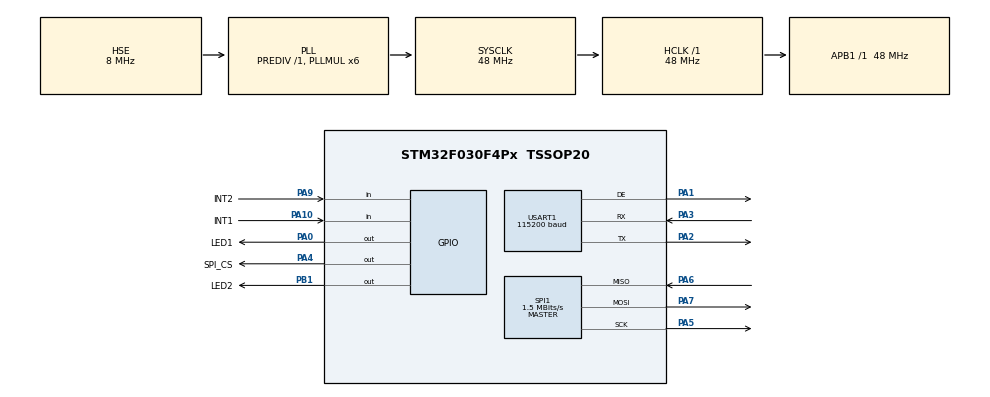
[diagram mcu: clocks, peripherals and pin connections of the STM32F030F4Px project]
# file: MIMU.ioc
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Mcu.Family=STM32F0
Mcu.Name=STM32F030F4Px
Mcu.Package=TSSOP20
NVIC.USART1_IRQn=true\:0\:0\:false\:false\:true\:true
PA0.GPIO_Label=LED1
PA0.Signal=GPIO_Output
PA1.Mode=Hardware Flow Control (RS485)
PA1.Signal=USART1_DE
PA10.GPIO_Label=INT1
PA10.Signal=GPIO_Input
PA13.Mode=Serial_Wire
PA13.Signal=SYS_SWDIO
PA14.Mode=Serial_Wire
PA14.Signal=SYS_SWCLK
PA2.Mode=Asynchronous
PA2.Signal=USART1_TX
PA3.Mode=Asynchronous
PA3.Signal=USART1_RX
PA4.GPIO_Label=SPI_CS
PA4.Signal=GPIO_Output
PA5.Mode=Full_Duplex_Master
PA5.Signal=SPI1_SCK
PA6.Mode=Full_Duplex_Master
PA6.Signal=SPI1_MISO
PA7.Mode=Full_Duplex_Master
PA7.Signal=SPI1_MOSI
PA9.GPIO_Label=INT2
PA9.Signal=GPIO_Input
PB1.GPIO_Label=LED2
PB1.Signal=GPIO_Output
PF0-OSC_IN.Mode=HSE-External-Oscillator
PF0-OSC_IN.Signal=RCC_OSC_IN
PF1-OSC_OUT.Mode=HSE-External-Oscillator
PF1-OSC_OUT.Signal=RCC_OSC_OUT
ProjectManager.HeapSize=0x000
ProjectManager.StackSize=0x400
ProjectManager.TargetToolchain=TrueSTUDIO
RCC.AHBFreq_Value=48000000
RCC.APB1Freq_Value=48000000
RCC.APB1TimFreq_Value=48000000
RCC.HCLKFreq_Value=48000000
RCC.PLLMUL=RCC_PLL_MUL6
RCC.PLLSourceVirtual=RCC_PLLSOURCE_HSE
RCC.SYSCLKFreq_VALUE=48000000
RCC.SYSCLKSource=RCC_SYSCLKSOURCE_PLLCLK
RCC.Usart1ClockSelection=RCC_USART1CLKSOURCE_SYSCLK
SPI1.BaudRatePrescaler=SPI_BAUDRATEPRESCALER_32
SPI1.CLKPhase=SPI_PHASE_2EDGE
SPI1.CLKPolarity=SPI_POLARITY_HIGH
SPI1.CalculateBaudRate=1.5 MBits/s
SPI1.DataSize=SPI_DATASIZE_8BIT
SPI1.Direction=SPI_DIRECTION_2LINES
SPI1.Mode=SPI_MODE_MASTER
SPI1.VirtualType=VM_MASTER
USART1.BaudRate=115200
USART1.DMADisableonRxErrorParam=ADVFEATURE_DMA_DISABLEONRXERROR
USART1.OverSampling=UART_OVERSAMPLING_8
USART1.OverrunDisableParam=ADVFEATURE_OVERRUN_DISABLE
USART1.UART_DEAssertionTime=4
USART1.UART_DEDeassertionTime=4
USART1.VirtualMode-Asynchronous=VM_ASYNC
USART1.VirtualMode-Hardware\ Flow\ Control\ (RS485)=VM_ASYNC
board=IMU

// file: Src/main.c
/* USER CODE BEGIN Header */
/**
  ******************************************************************************
  * @file           : main.c
  * @brief          : Main program body
  ******************************************************************************
  ** This notice applies to any and all portions of this file
  * that are not between comment pairs USER CODE BEGIN and
  * USER CODE END. Other portions of this file, whether
  * inserted by the user or by software development tools
  * are owned by their respective copyright owners.
  *
  * COPYRIGHT(c) 2019 STMicroelectronics
  *
  * Redistribution and use in source and binary forms, with or without modification,
  * are permitted provided that the following conditions are met:
  *   1. Redistributions of source code must retain the above copyright notice,
  *      this list of conditions and the following disclaimer.
  *   2. Redistributions in binary form must reproduce the above copyright notice,
  *      this list of conditions and the following disclaimer in the documentation
  *      and/or other materials provided with the distribution.
  *   3. Neither the name of STMicroelectronics nor the names of its contributors
  *      may be used to endorse or promote products derived from this software
  *      without specific prior written permission.
  *
  * THIS SOFTWARE IS PROVIDED BY THE COPYRIGHT HOLDERS AND CONTRIBUTORS "AS IS"
  * AND ANY EXPRESS OR IMPLIED WARRANTIES, INCLUDING, BUT NOT LIMITED TO, THE
  * IMPLIED WARRANTIES OF MERCHANTABILITY AND FITNESS FOR A PARTICULAR PURPOSE ARE
  * DISCLAIMED. IN NO EVENT SHALL THE COPYRIGHT HOLDER OR CONTRIBUTORS BE LIABLE
  * FOR ANY DIRECT, INDIRECT, INCIDENTAL, SPECIAL, EXEMPLARY, OR CONSEQUENTIAL
  * DAMAGES (INCLUDING, BUT NOT LIMITED TO, PROCUREMENT OF SUBSTITUTE GOODS OR
  * SERVICES; LOSS OF USE, DATA, OR PROFITS; OR BUSINESS INTERRUPTION) HOWEVER
  * CAUSED AND ON ANY THEORY OF LIABILITY, WHETHER IN CONTRACT, STRICT LIABILITY,
  * OR TORT (INCLUDING NEGLIGENCE OR OTHERWISE) ARISING IN ANY WAY OUT OF THE USE
  * OF THIS SOFTWARE, EVEN IF ADVISED OF THE POSSIBILITY OF SUCH DAMAGE.
  *
  ******************************************************************************
  */
/* USER CODE END Header */

#include "main.h"

/* USER CODE BEGIN Includes */

#include <string.h>
#include "LIS3DSH.h"
/* USER CODE END Includes */

/* USER CODE BEGIN PM */
#define SPI1CSLOW                HAL_GPIO_WritePin(SPI_CS_GPIO_Port,SPI_CS_Pin,GPIO_PIN_RESET)
#define SPI1CSHIGH               HAL_GPIO_WritePin(SPI_CS_GPIO_Port,SPI_CS_Pin,GPIO_PIN_SET)

uint8_t transmitBuffer[16];
uint8_t transmitBufLen;

char traTemp[64];
char recTemp[64];
/* USER CODE END PM */

SPI_HandleTypeDef hspi1;

UART_HandleTypeDef huart1;

void SystemClock_Config(void);
static void MX_GPIO_Init(void);
static void MX_SPI1_Init(void);
static void MX_USART1_UART_Init(void);
/* USER CODE BEGIN PFP */
uint8_t LIS3DSH_HAL_ReadReg8(uint8_t reg);
uint16_t LIS3DSH_HAL_ReadReg16(uint8_t reg);
uint8_t LIS3DSH_HAL_WriteReg8(uint8_t reg,uint8_t val);
uint8_t LIS3DSH_HAL_ReadTemp(void);
/* USER CODE END PFP */

int main(void)
{

  /* MCU Configuration--------------------------------------------------------*/

  /* Reset of all peripherals, Initializes the Flash interface and the Systick. */
  HAL_Init();

  /* Configure the system clock */
  SystemClock_Config();

  /* Initialize all configured peripherals */
  MX_GPIO_Init();
  MX_SPI1_Init();
  MX_USART1_UART_Init();
  /* USER CODE BEGIN 2 */

  SPI1CSHIGH;

  HAL_Delay(500);

  LIS3DSH_HAL_WriteReg8(LIS3DSH_REG_CTRL4,LIS3DSH_ALL_AXIS_EN|LIS3DSH_ODR_3_125);

  LIS3DSH_HAL_WriteReg8(LIS3DSH_REG_CTRL5,LIS3DSH_AAFLTR50Hz|LIS3DSH_2G|LIS3DSH_STNORMAL|LIS3DSH_SPI4WIRE);

  LIS3DSH_HAL_WriteReg8(LIS3DSH_REG_OFFX,0);
  LIS3DSH_HAL_WriteReg8(LIS3DSH_REG_OFFY,0);
  LIS3DSH_HAL_WriteReg8(LIS3DSH_REG_OFFZ,0);

  /* USER CODE END 2 */

  /* Infinite loop */
  /* USER CODE BEGIN WHILE */

  HAL_Delay(500);

  int16_t x,y,z;

  while (1)
  {
      HAL_Delay(100);
      HAL_GPIO_WritePin(LED1_GPIO_Port, LED1_Pin, GPIO_PIN_RESET);
      HAL_GPIO_WritePin(LED2_GPIO_Port, LED2_Pin, GPIO_PIN_SET);

      HAL_Delay(100);
      HAL_GPIO_WritePin(LED1_GPIO_Port, LED1_Pin, GPIO_PIN_SET);
      HAL_GPIO_WritePin(LED2_GPIO_Port, LED2_Pin, GPIO_PIN_RESET);

      // @div4  3 axis 16bit read takes 96 uS
      // @div8  3 axis ... 104 uS
      // @div16 3 axis ... 114 uS
      // @div32 3 axis ... 134 uS

      x = LIS3DSH_HAL_ReadReg16(LIS3DSH_REG_OUTXL);
      y = LIS3DSH_HAL_ReadReg16(LIS3DSH_REG_OUTYL);
      z = LIS3DSH_HAL_ReadReg16(LIS3DSH_REG_OUTZL);

      /*x = ( x / 16777.0 ) * 980.665 ;
      y = ( y / 16777.0 ) * 980.665 ;
      z = ( z / 16777.0 ) * 980.665 ;*/

      //double xangle = asin(x/980.665)*180.0/3.14;
      //double yangle = asin(y/980.665)*180.0/3.14;

      sprintf((char*)traTemp,"#X%5d #Y%5d #Z%5d #T%6lu\r\n",x,y,z,HAL_GetTick());
      //sprintf((char*)traTemp,"X:%d Y: %d Z: %d XAngle: %f YAngle: %f \r\n\r\n",(int16_t)x,(int16_t)y,(int16_t)z,xangle,yangle);

      HAL_UART_Transmit(&huart1,(uint8_t*)traTemp,strlen((char*)traTemp),5000);
    /* USER CODE END WHILE */

  }
}

void SystemClock_Config(void)
{
  RCC_OscInitTypeDef RCC_OscInitStruct = {0};
  RCC_ClkInitTypeDef RCC_ClkInitStruct = {0};
  RCC_PeriphCLKInitTypeDef PeriphClkInit = {0};

  /**Initializes the CPU, AHB and APB busses clocks
  */
  RCC_OscInitStruct.OscillatorType = RCC_OSCILLATORTYPE_HSE;
  RCC_OscInitStruct.HSEState = RCC_HSE_ON;
  RCC_OscInitStruct.PLL.PLLState = RCC_PLL_ON;
  RCC_OscInitStruct.PLL.PLLSource = RCC_PLLSOURCE_HSE;
  RCC_OscInitStruct.PLL.PLLMUL = RCC_PLL_MUL6;
  RCC_OscInitStruct.PLL.PREDIV = RCC_PREDIV_DIV1;
  if (HAL_RCC_OscConfig(&RCC_OscInitStruct) != HAL_OK)
  {
    Error_Handler();
  }
  /**Initializes the CPU, AHB and APB busses clocks
  */
  RCC_ClkInitStruct.ClockType = RCC_CLOCKTYPE_HCLK|RCC_CLOCKTYPE_SYSCLK
                              |RCC_CLOCKTYPE_PCLK1;
  RCC_ClkInitStruct.SYSCLKSource = RCC_SYSCLKSOURCE_PLLCLK;
  RCC_ClkInitStruct.AHBCLKDivider = RCC_SYSCLK_DIV1;
  RCC_ClkInitStruct.APB1CLKDivider = RCC_HCLK_DIV1;

  if (HAL_RCC_ClockConfig(&RCC_ClkInitStruct, FLASH_LATENCY_1) != HAL_OK)
  {
    Error_Handler();
  }
  PeriphClkInit.PeriphClockSelection = RCC_PERIPHCLK_USART1;
  PeriphClkInit.Usart1ClockSelection = RCC_USART1CLKSOURCE_SYSCLK;
  if (HAL_RCCEx_PeriphCLKConfig(&PeriphClkInit) != HAL_OK)
  {
    Error_Handler();
  }
}

static void MX_SPI1_Init(void)
{

  /* SPI1 parameter configuration*/
  hspi1.Instance = SPI1;
  hspi1.Init.Mode = SPI_MODE_MASTER;
  hspi1.Init.Direction = SPI_DIRECTION_2LINES;
  hspi1.Init.DataSize = SPI_DATASIZE_8BIT;
  hspi1.Init.CLKPolarity = SPI_POLARITY_HIGH;
  hspi1.Init.CLKPhase = SPI_PHASE_2EDGE;
  hspi1.Init.NSS = SPI_NSS_SOFT;
  hspi1.Init.BaudRatePrescaler = SPI_BAUDRATEPRESCALER_32;
  hspi1.Init.FirstBit = SPI_FIRSTBIT_MSB;
  hspi1.Init.TIMode = SPI_TIMODE_DISABLE;
  hspi1.Init.CRCCalculation = SPI_CRCCALCULATION_DISABLE;
  hspi1.Init.CRCPolynomial = 7;
  hspi1.Init.CRCLength = SPI_CRC_LENGTH_DATASIZE;
  hspi1.Init.NSSPMode = SPI_NSS_PULSE_DISABLE;
  if (HAL_SPI_Init(&hspi1) != HAL_OK)
  {
    Error_Handler();
  }

}

static void MX_USART1_UART_Init(void)
{

  huart1.Instance = USART1;
  huart1.Init.BaudRate = 115200;
  huart1.Init.WordLength = UART_WORDLENGTH_8B;
  huart1.Init.StopBits = UART_STOPBITS_1;
  huart1.Init.Parity = UART_PARITY_NONE;
  huart1.Init.Mode = UART_MODE_TX_RX;
  huart1.Init.HwFlowCtl = UART_HWCONTROL_NONE;
  huart1.Init.OverSampling = UART_OVERSAMPLING_8;
  huart1.Init.OneBitSampling = UART_ONE_BIT_SAMPLE_DISABLE;
  huart1.AdvancedInit.AdvFeatureInit = UART_ADVFEATURE_RXOVERRUNDISABLE_INIT|UART_ADVFEATURE_DMADISABLEONERROR_INIT;
  huart1.AdvancedInit.OverrunDisable = UART_ADVFEATURE_OVERRUN_DISABLE;
  huart1.AdvancedInit.DMADisableonRxError = UART_ADVFEATURE_DMA_DISABLEONRXERROR;
  if (HAL_RS485Ex_Init(&huart1, UART_DE_POLARITY_HIGH, 4, 4) != HAL_OK)
  {
    Error_Handler();
  }

}

static void MX_GPIO_Init(void)
{
  GPIO_InitTypeDef GPIO_InitStruct = {0};

  /* GPIO Ports Clock Enable */
  __HAL_RCC_GPIOF_CLK_ENABLE();
  __HAL_RCC_GPIOA_CLK_ENABLE();
  __HAL_RCC_GPIOB_CLK_ENABLE();

  /*Configure GPIO pin Output Level */
  HAL_GPIO_WritePin(GPIOA, LED1_Pin|SPI_CS_Pin, GPIO_PIN_RESET);

  /*Configure GPIO pin Output Level */
  HAL_GPIO_WritePin(LED2_GPIO_Port, LED2_Pin, GPIO_PIN_RESET);

  /*Configure GPIO pins : LED1_Pin SPI_CS_Pin */
  GPIO_InitStruct.Pin = LED1_Pin|SPI_CS_Pin;
  GPIO_InitStruct.Mode = GPIO_MODE_OUTPUT_PP;
  GPIO_InitStruct.Pull = GPIO_NOPULL;
  GPIO_InitStruct.Speed = GPIO_SPEED_FREQ_LOW;
  HAL_GPIO_Init(GPIOA, &GPIO_InitStruct);

  /*Configure GPIO pin : LED2_Pin */
  GPIO_InitStruct.Pin = LED2_Pin;
  GPIO_InitStruct.Mode = GPIO_MODE_OUTPUT_PP;
  GPIO_InitStruct.Pull = GPIO_NOPULL;
  GPIO_InitStruct.Speed = GPIO_SPEED_FREQ_LOW;
  HAL_GPIO_Init(LED2_GPIO_Port, &GPIO_InitStruct);

  /*Configure GPIO pins : INT2_Pin INT1_Pin */
  GPIO_InitStruct.Pin = INT2_Pin|INT1_Pin;
  GPIO_InitStruct.Mode = GPIO_MODE_INPUT;
  GPIO_InitStruct.Pull = GPIO_NOPULL;
  HAL_GPIO_Init(GPIOA, &GPIO_InitStruct);

}

/* USER CODE BEGIN 4 */
/*
 * @about: LIS3DSH Read 8 bit data from register
 */
 uint8_t LIS3DSH_HAL_ReadReg8(uint8_t reg){
    transmitBuffer[0] = 0x80 | reg;
    transmitBufLen = 1;
    SPI1CSLOW;

    HAL_SPI_Transmit(&hspi1,transmitBuffer,transmitBufLen,5000);
    while(HAL_SPI_GetState(&hspi1)== HAL_SPI_STATE_BUSY_TX) {;}

    HAL_SPI_Receive(&hspi1,transmitBuffer,transmitBufLen,5000);
    while(HAL_SPI_GetState(&hspi1)== HAL_SPI_STATE_BUSY_RX){;}

    SPI1CSHIGH;

    return(transmitBuffer[0]);
}

 /*
 * @about: LIS3DSH Read 8 bit data from register
 */
 uint16_t LIS3DSH_HAL_ReadReg16(uint8_t reg){
    transmitBuffer[0] = 0x80 | reg;
    static uint8_t r1,r2;
    SPI1CSLOW;

    HAL_SPI_Transmit(&hspi1,transmitBuffer,1,5000);
    while(HAL_SPI_GetState(&hspi1)== HAL_SPI_STATE_BUSY_TX) {;}

    HAL_SPI_Receive(&hspi1,&r1,1,5000);
    while(HAL_SPI_GetState(&hspi1)== HAL_SPI_STATE_BUSY_RX){;}

    HAL_SPI_Receive(&hspi1,&r2,1,5000);
    while(HAL_SPI_GetState(&hspi1)== HAL_SPI_STATE_BUSY_RX){;}

    SPI1CSHIGH;

    return(r1|(r2<<8));
}

/*
 * @about: LIS3DSH Read 8 bit data from register
 */
uint8_t LIS3DSH_HAL_WriteReg8(uint8_t reg,uint8_t val){
    transmitBuffer[0] = ( ~0x80 & reg );
    transmitBuffer[1] = ( val );
    transmitBufLen = 1;
    SPI1CSLOW;
    HAL_SPI_Transmit(&hspi1,transmitBuffer,transmitBufLen,5000);
    while(HAL_SPI_GetState(&hspi1)== HAL_SPI_STATE_BUSY_TX) {;}
    transmitBuffer[0] = transmitBuffer[1];
    HAL_SPI_Transmit(&hspi1,transmitBuffer,transmitBufLen,5000);
    while(HAL_SPI_GetState(&hspi1)== HAL_SPI_STATE_BUSY_TX) {;}
    SPI1CSHIGH;

    return(transmitBuffer[0]);
}

/*
 * @about: Read 12Bit Temperature value
 */
uint8_t LIS3DSH_HAL_ReadTemp(void){
    return(LIS3DSH_HAL_ReadReg8(LIS3DSH_REG_OUTT));
}
/* USER CODE END 4 */

void Error_Handler(void)
{
}

/************************ (C) COPYRIGHT STMicroelectronics *****END OF FILE****/
